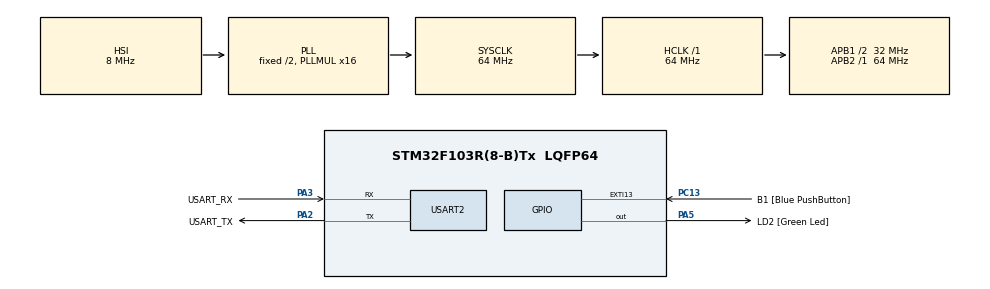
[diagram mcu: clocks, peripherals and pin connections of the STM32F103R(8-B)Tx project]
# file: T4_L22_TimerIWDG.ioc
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Mcu.Family=STM32F1
Mcu.Name=STM32F103R(8-B)Tx
Mcu.Package=LQFP64
NVIC.EXTI15_10_IRQn=true\:0\:0\:false\:false\:true\:true\:true
NVIC.PriorityGroup=NVIC_PRIORITYGROUP_4
PA13.GPIO_Label=TMS
PA13.Mode=Serial_Wire
PA13.Signal=SYS_JTMS-SWDIO
PA14.GPIO_Label=TCK
PA14.Mode=Serial_Wire
PA14.Signal=SYS_JTCK-SWCLK
PA2.GPIO_Label=USART_TX
PA2.GPIO_Mode=GPIO_MODE_AF_PP
PA2.GPIO_PuPd=GPIO_NOPULL
PA2.GPIO_Speed=GPIO_SPEED_FREQ_LOW
PA2.Mode=Asynchronous
PA2.Signal=USART2_TX
PA3.GPIO_Label=USART_RX
PA3.GPIO_Mode=GPIO_MODE_AF_PP
PA3.GPIO_PuPd=GPIO_NOPULL
PA3.GPIO_Speed=GPIO_SPEED_FREQ_LOW
PA3.Mode=Asynchronous
PA3.Signal=USART2_RX
PA5.GPIO_Label=LD2 [Green Led]
PA5.GPIO_ModeDefaultOutputPP=GPIO_MODE_OUTPUT_PP
PA5.GPIO_PuPd=GPIO_NOPULL
PA5.GPIO_Speed=GPIO_SPEED_FREQ_LOW
PA5.Signal=GPIO_Output
PB3.GPIO_Label=SWO
PB3.Signal=SYS_JTDO-TRACESWO
PC13-TAMPER-RTC.GPIO_Label=B1 [Blue PushButton]
PC13-TAMPER-RTC.GPIO_PuPd=GPIO_NOPULL
PC13-TAMPER-RTC.Signal=GPXTI13
PC14-OSC32_IN.Mode=LSE-External-Oscillator
PC14-OSC32_IN.Signal=RCC_OSC32_IN
PC15-OSC32_OUT.Mode=LSE-External-Oscillator
PC15-OSC32_OUT.Signal=RCC_OSC32_OUT
PD0-OSC_IN.Mode=HSE-External-Clock-Source
PD0-OSC_IN.Signal=RCC_OSC_IN
PD1-OSC_OUT.Mode=HSE-External-Clock-Source
PD1-OSC_OUT.Signal=RCC_OSC_OUT
ProjectManager.HeapSize=0x200
ProjectManager.StackSize=0x400
ProjectManager.TargetToolchain=STM32CubeIDE
RCC.AHBFreq_Value=64000000
RCC.APB1CLKDivider=RCC_HCLK_DIV2
RCC.APB1Freq_Value=32000000
RCC.APB1TimFreq_Value=64000000
RCC.APB2Freq_Value=64000000
RCC.APB2TimFreq_Value=64000000
RCC.HCLKFreq_Value=64000000
RCC.PLLMUL=RCC_PLL_MUL16
RCC.RTCClockSelection=RCC_RTCCLKSOURCE_LSE
RCC.SYSCLKFreq_VALUE=64000000
RCC.SYSCLKSource=RCC_SYSCLKSOURCE_PLLCLK
RCC.USBFreq_Value=64000000
USART2.VirtualMode=VM_ASYNC
VP_IWDG_VS_IWDG.Mode=IWDG_Activate
board=NUCLEO-F103RB

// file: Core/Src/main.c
/* USER CODE BEGIN Header */
/**
  ******************************************************************************
  * @file           : main.c
  * @brief          : Main program body
  ******************************************************************************
  * @attention
  *
  * <h2><center>&copy; Copyright (c) 2022 STMicroelectronics.
  * All rights reserved.</center></h2>
  *
  * This software component is licensed by ST under BSD 3-Clause license,
  * the "License"; You may not use this file except in compliance with the
  * License. You may obtain a copy of the License at:
  *                        opensource.org/licenses/BSD-3-Clause
  *
  ******************************************************************************
  */
/* USER CODE END Header */
#include "main.h"
#include "iwdg.h"
#include "usart.h"
#include "gpio.h"

/* USER CODE BEGIN Includes */
#include "string.h"
#include "stdio.h"
/* USER CODE END Includes */

void SystemClock_Config(void);
/* USER CODE BEGIN PFP */
void SendUart(UART_HandleTypeDef *huart, uint8_t *Message);
/* USER CODE END PFP */

int main(void)
{

  /* MCU Configuration--------------------------------------------------------*/

  /* Reset of all peripherals, Initializes the Flash interface and the Systick. */
  HAL_Init();

  /* Configure the system clock */
  SystemClock_Config();

  /* Initialize all configured peripherals */
  MX_GPIO_Init();
  MX_USART2_UART_Init();
  MX_IWDG_Init();
  /* USER CODE BEGIN 2 */
  if(__HAL_RCC_GET_FLAG(RCC_FLAG_IWDGRST) != RESET)
  {
	  SendUart(&huart2, (uint8_t*)"!!! IWDG RESET !!!!\n\r");
	  __HAL_RCC_CLEAR_RESET_FLAGS();
  }
  else
  {
	  SendUart(&huart2, (uint8_t*)"!!! Normal reset !!!!\n\r");
  }
  /* USER CODE END 2 */

  /* Infinite loop */
  /* USER CODE BEGIN WHILE */
  while (1)
  {
	  if(HAL_IWDG_Refresh(&hiwdg) != HAL_OK)
	  {
		  Error_Handler();
	  }
	  if(!HAL_GPIO_ReadPin(B1_GPIO_Port,B1_Pin))
	  {
		  while(!HAL_GPIO_ReadPin(B1_GPIO_Port,B1_Pin))
		{
			//do nothing
		}
	  }
	  HAL_Delay(200);
    /* USER CODE END WHILE */

  }
}

void SystemClock_Config(void)
{
  RCC_OscInitTypeDef RCC_OscInitStruct = {0};
  RCC_ClkInitTypeDef RCC_ClkInitStruct = {0};

  /** Initializes the RCC Oscillators according to the specified parameters
  * in the RCC_OscInitTypeDef structure.
  */
  RCC_OscInitStruct.OscillatorType = RCC_OSCILLATORTYPE_HSI|RCC_OSCILLATORTYPE_LSI;
  RCC_OscInitStruct.HSIState = RCC_HSI_ON;
  RCC_OscInitStruct.HSICalibrationValue = RCC_HSICALIBRATION_DEFAULT;
  RCC_OscInitStruct.LSIState = RCC_LSI_ON;
  RCC_OscInitStruct.PLL.PLLState = RCC_PLL_ON;
  RCC_OscInitStruct.PLL.PLLSource = RCC_PLLSOURCE_HSI_DIV2;
  RCC_OscInitStruct.PLL.PLLMUL = RCC_PLL_MUL16;
  if (HAL_RCC_OscConfig(&RCC_OscInitStruct) != HAL_OK)
  {
    Error_Handler();
  }
  /** Initializes the CPU, AHB and APB buses clocks
  */
  RCC_ClkInitStruct.ClockType = RCC_CLOCKTYPE_HCLK|RCC_CLOCKTYPE_SYSCLK
                              |RCC_CLOCKTYPE_PCLK1|RCC_CLOCKTYPE_PCLK2;
  RCC_ClkInitStruct.SYSCLKSource = RCC_SYSCLKSOURCE_PLLCLK;
  RCC_ClkInitStruct.AHBCLKDivider = RCC_SYSCLK_DIV1;
  RCC_ClkInitStruct.APB1CLKDivider = RCC_HCLK_DIV2;
  RCC_ClkInitStruct.APB2CLKDivider = RCC_HCLK_DIV1;

  if (HAL_RCC_ClockConfig(&RCC_ClkInitStruct, FLASH_LATENCY_2) != HAL_OK)
  {
    Error_Handler();
  }
}

/* USER CODE BEGIN 4 */
void SendUart(UART_HandleTypeDef *huart, uint8_t *Message)
{
	HAL_UART_Transmit(huart,Message,strlen((const char*)Message),1000);
}
/* USER CODE END 4 */

void Error_Handler(void)
{
  __disable_irq();
  while (1)
  {
  }
}

/************************ (C) COPYRIGHT STMicroelectronics *****END OF FILE****/
